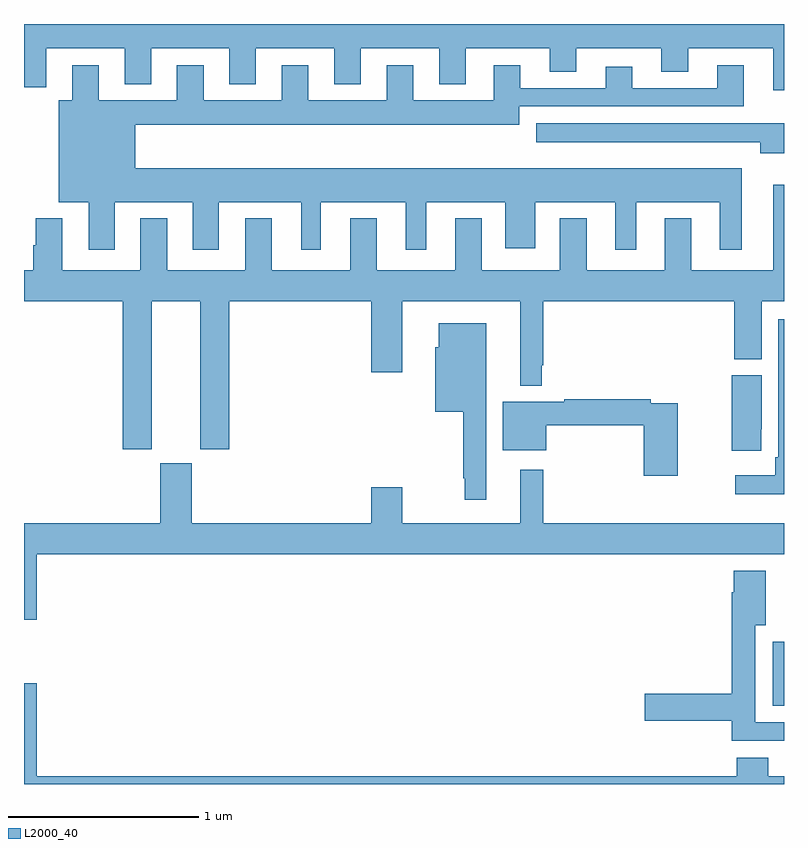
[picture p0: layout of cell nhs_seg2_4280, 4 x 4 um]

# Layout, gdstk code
import gdstk
lib = gdstk.Library(unit=1e-6, precision=1e-09)
def R(c, l, rs):  # rectangles x0, y0, x1, y1
    for r in rs: c.add(gdstk.rectangle(r[:2], r[2:], *l))
def P(c, l, *ps):  # polygons
    for p in ps: c.add(gdstk.Polygon(p, *l))
L2000_40 = (2000, 40)

nhs_seg2_4280 = lib.new_cell('nhs_seg2_4280')
R(nhs_seg2_4280, L2000_40, [(346.94,608.213,347,608.548)])
P(nhs_seg2_4280, L2000_40, [(343,611.466),(343.117,611.466),(343.117,611.672),(343.529,611.672),(343.529,611.483),(343.669,611.483),(343.669,611.672),(344.081,611.672),(344.081,611.483),(344.221,611.483),(344.221,611.672),(344.633,611.672),(344.633,611.483),(344.773,611.483),(344.773,611.672),(345.185,611.672),(345.185,611.483),(345.325,611.483),(345.325,611.672),(345.767,611.672),(345.767,611.548),(345.907,611.548),(345.907,611.672),(346.355,611.672),(346.355,611.548),(346.495,611.548),(346.495,611.672),(346.943,611.672),(346.943,611.451),(347,611.451),(347,611.8),(343,611.8)],
  [(343.477,610.862),(343.889,610.862),(343.889,610.611),(344.026,610.611),(344.026,610.862),(344.459,610.862),(344.459,610.611),(344.563,610.611),(344.563,610.862),(345.008,610.862),(345.008,610.611),(345.118,610.611),(345.118,610.862),(345.533,610.862),(345.533,610.619),(345.691,610.619),(345.691,610.862),(346.112,610.862),(346.112,610.611),(346.222,610.611),(346.222,610.862),(346.661,610.862),(346.661,610.611),(346.777,610.611),(346.777,611.041),(343.585,611.041),(343.585,611.27),(345.607,611.27),(345.607,611.367),(346.789,611.367),(346.789,611.584),(346.649,611.584),(346.649,611.463),(346.201,611.463),(346.201,611.575),(346.061,611.575),(346.061,611.463),(345.613,611.463),(345.613,611.584),(345.473,611.584),(345.473,611.398),(345.049,611.398),(345.049,611.584),(344.909,611.584),(344.909,611.398),(344.497,611.398),(344.497,611.584),(344.357,611.584),(344.357,611.398),(343.945,611.398),(343.945,611.584),(343.805,611.584),(343.805,611.398),(343.393,611.398),(343.393,611.584),(343.253,611.584),(343.253,611.398),(343.184,611.398),(343.184,610.862),(343.34,610.862),(343.34,610.611),(343.477,610.611)],
  [(347,611.278),(345.696,611.278),(345.696,611.177),(346.874,611.177),(346.874,611.12),(347,611.12)],
  [(343.672,610.34),(343.928,610.34),(343.928,609.561),(344.081,609.561),(344.081,610.34),(344.828,610.34),(344.828,609.966),(344.992,609.966),(344.992,610.34),(345.611,610.34),(345.611,609.896),(345.726,609.896),(345.726,610.003),(345.733,610.003),(345.733,610.34),(346.739,610.34),(346.739,610.036),(346.882,610.036),(346.882,610.34),(347,610.34),(347,610.954),(346.943,610.954),(346.943,610.504),(346.513,610.504),(346.513,610.777),(346.373,610.777),(346.373,610.504),(345.961,610.504),(345.961,610.777),(345.821,610.777),(345.821,610.504),(345.409,610.504),(345.409,610.777),(345.269,610.777),(345.269,610.504),(344.857,610.504),(344.857,610.777),(344.717,610.777),(344.717,610.504),(344.305,610.504),(344.305,610.777),(344.165,610.777),(344.165,610.504),(343.753,610.504),(343.753,610.777),(343.613,610.777),(343.613,610.504),(343.201,610.504),(343.201,610.777),(343.061,610.777),(343.061,610.635),(343.049,610.635),(343.049,610.504),(343,610.504),(343,610.34),(343.52,610.34),(343.52,609.561),(343.672,609.561)],
  [(347,610.246),(346.971,610.246),(346.971,609.52),(346.955,609.52),(346.955,609.424),(346.743,609.424),(346.743,609.326),(347,609.326)],
  [(345.433,610.225),(345.182,610.225),(345.182,610.098),(345.164,610.098),(345.164,609.758),(345.312,609.758),(345.312,609.409),(345.319,609.409),(345.319,609.297),(345.433,609.297)],
  [(346.881,609.667),(346.882,609.667),(346.882,609.951),(346.726,609.951),(346.726,609.555),(346.881,609.555)],
  [(346.44,609.804),(346.298,609.804),(346.298,609.824),(345.844,609.824),(345.844,609.811),(345.521,609.811),(345.521,609.557),(345.748,609.557),(345.748,609.688),(346.262,609.688),(346.262,609.423),(346.44,609.423)],
  [(343.067,609.008),(347,609.008),(347,609.172),(345.733,609.172),(345.733,609.454),(345.611,609.454),(345.611,609.172),(344.992,609.172),(344.992,609.361),(344.828,609.361),(344.828,609.172),(343.882,609.172),(343.882,609.489),(343.718,609.489),(343.718,609.172),(343,609.172),(343,608.664),(343.067,608.664)],
  [(347,608.124),(346.849,608.124),(346.849,608.636),(346.903,608.636),(346.903,608.923),(346.736,608.923),(346.736,608.81),(346.724,608.81),(346.724,608.276),(346.266,608.276),(346.266,608.134),(346.724,608.134),(346.724,608.027),(347,608.027)],
  [(347,607.84),(346.916,607.84),(346.916,607.939),(346.751,607.939),(346.751,607.84),(343.067,607.84),(343.067,608.329),(343,608.329),(343,607.8),(347,607.8)])

lib.write_gds('nhs_seg2_4280.gds')
